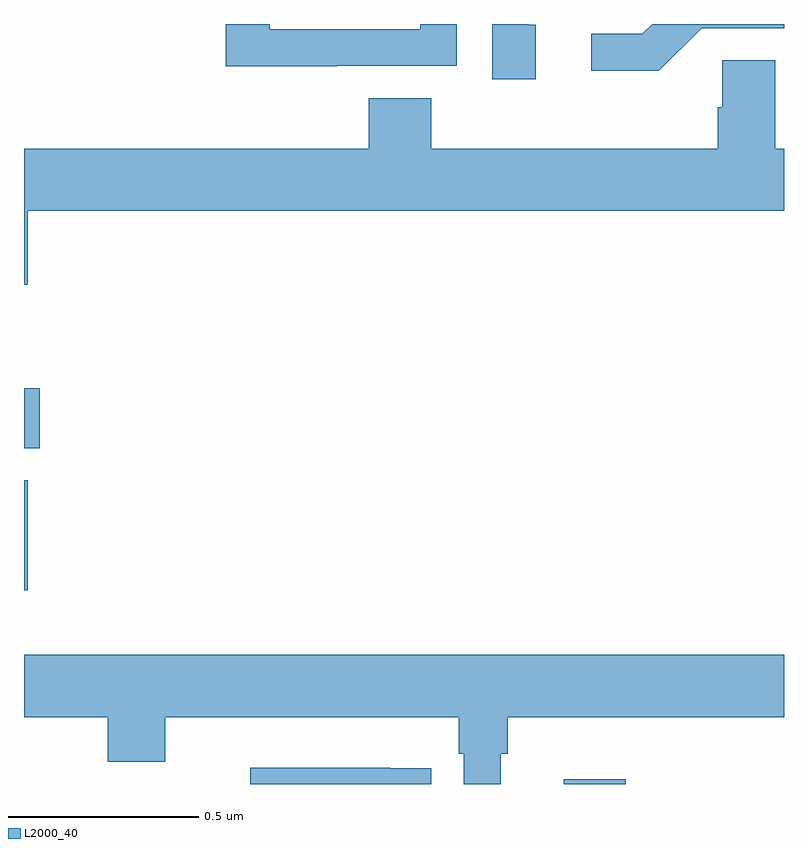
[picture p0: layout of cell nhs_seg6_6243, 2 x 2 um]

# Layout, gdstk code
import gdstk
lib = gdstk.Library(unit=1e-6, precision=1e-09)
def R(c, l, rs):  # rectangles x0, y0, x1, y1
    for r in rs: c.add(gdstk.rectangle(r[:2], r[2:], *l))
def P(c, l, *ps):  # polygons
    for p in ps: c.add(gdstk.Polygon(p, *l))
L2000_40 = (2000, 40)

nhs_seg6_6243 = lib.new_cell('nhs_seg6_6243')
R(nhs_seg6_6243, L2000_40, [(194.42,940.5,194.584,940.513), (193,941.01,193.01,941.299), (193,941.384,193.042,941.542)])
P(nhs_seg6_6243, L2000_40, [(193.823,942.39),(194.139,942.39),(194.139,942.5),(194.043,942.5),(194.043,942.486),(193.647,942.486),(193.647,942.5),(193.531,942.5),(193.531,942.389),(193.823,942.389)],
  [(194.347,942.498),(194.328,942.498),(194.328,942.5),(194.232,942.5),(194.232,942.354),(194.347,942.354)],
  [(194.784,942.489),(195,942.489),(195,942.5),(194.653,942.5),(194.627,942.474),(194.493,942.474),(194.493,942.377),(194.671,942.377)],
  [(193.01,942.008),(195,942.008),(195,942.172),(194.977,942.172),(194.977,942.404),(194.838,942.404),(194.838,942.281),(194.825,942.281),(194.825,942.172),(194.072,942.172),(194.072,942.305),(193.907,942.305),(193.907,942.172),(193,942.172),(193,941.814),(193.01,941.814)],
  [(194.254,940.58),(194.273,940.58),(194.273,940.676),(195,940.676),(195,940.84),(193,940.84),(193,940.676),(193.22,940.676),(193.22,940.559),(193.372,940.559),(193.372,940.676),(194.144,940.676),(194.144,940.58),(194.157,940.58),(194.157,940.5),(194.254,940.5)],
  [(194.072,940.542),(193.964,940.542),(193.964,940.543),(193.596,940.543),(193.596,940.5),(194.072,940.5)])

lib.write_gds('nhs_seg6_6243.gds')
